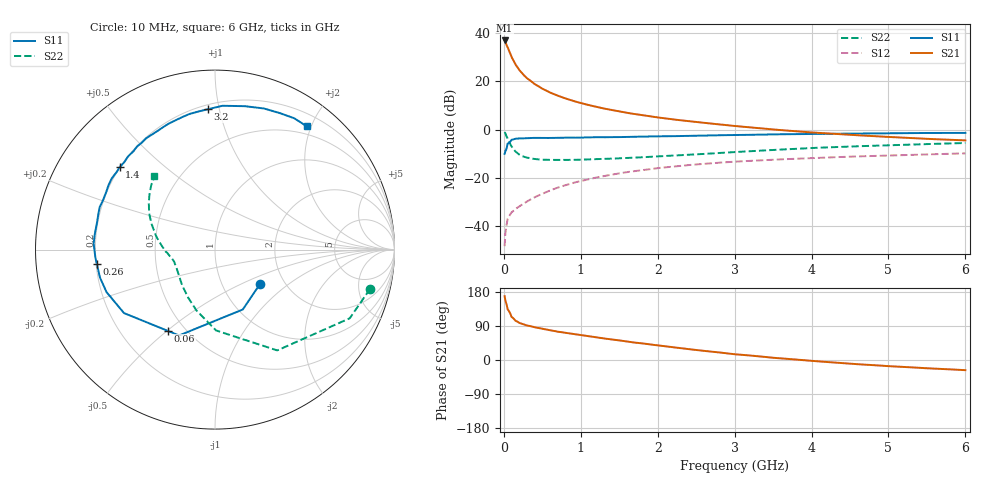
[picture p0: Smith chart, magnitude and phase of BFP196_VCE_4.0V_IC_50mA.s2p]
! Infineon Technologies  Discrete & RF Semiconductors
! BFP196
! VCE = 4.0 V,  IC =  50mA
! Common Emitter S-Parameters:  Jan 2016
# GHz  S  MA  R  50
!  f  S11  S21  S12  S22
! GHz  MAG  ANG  MAG  ANG  MAG  ANG  MAG  ANG
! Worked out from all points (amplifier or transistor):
!   210 points, 10 MHz to 6 GHz, reference 50 ohm
!   highest |S21| = 36.9 dB at 10 MHz (marker M1)
!   |S21| within 3 dB of that: start of sweep to 51.77 MHz
!   unconditionally stable (mu >= 1): 465.5 MHz to 4.425 GHz
!   at 185 MHz: K = 0.71, MSG = 28.8 dB, |S12| = -32.0 dB
!   at 1.52 GHz: K = 1.08, MAG = 10.9 dB, |S12| = -18.0 dB
!   at 6 GHz: K = 0.98, MSG = 2.7 dB, |S12| = -9.8 dB
!   S11 on the Smith chart (normalised r, x): 10 MHz: 1.51, -0.64; 60 MHz: 0.40, -0.50; 260 MHz: 0.20, -0.06; 1.4 GHz: 0.20, +0.36; 3.2 GHz: 0.23, +0.92; 6 GHz: 0.37, +1.93
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0.01  0.3155 -37.1  69.98 168.5  0.0039 79.6  0.8916 -14.2
0.02  0.3679 -65.1  65.34 157.2  0.0072 72.6  0.8426 -27.0
0.05  0.5185 -112.7  50.27 133.7  0.0144 56.4  0.6601 -58.3
0.06  0.5234 -120.0  46.24 131.0  0.0154 54.3  0.6072 -62.7
0.1  0.6182 -145.1  31.8 113.8  0.0195 48.1  0.4507 -89.2
0.145  0.6444 -157.3  23.31 105.3  0.0225 48.6  0.3625 -104.7
0.15  0.649 -158.6  22.41 104.0  0.0228 48.7  0.3548 -106.9
0.2  0.6595 -166.3  17.21 98.0  0.0259 51.1  0.3065 -119.2
0.26  0.6627 -172.9  13.39 93.5  0.0299 54.1  0.2759 -129.8
0.3  0.6678 -176.1  11.61 91.1  0.0327 56.6  0.2648 -134.9
0.4  0.6769 177.2  8.787 86.4  0.0399 59.0  0.2477 -144.6
0.5  0.6752 172.4  7.042 82.4  0.0472 60.9  0.2397 -150.9
0.6  0.6738 167.7  5.874 78.5  0.0552 61.9  0.2373 -155.4
0.7  0.6793 163.4  5.055 74.7  0.0633 62.6  0.2371 -158.7
1.02  0.6867 151.6  3.487 65.1  0.0884 60.5  0.2402 -165.7
1.4  0.7026 139.1  2.547 54.4  0.1173 56.4  0.2516 -171.2
2.02  0.7294 121.2  1.776 38.2  0.1615 47.8  0.2811 -179.9
3.1  0.7785 94.9  1.154 13.6  0.2224 32.0  0.3503 163.9
3.2  0.7831 92.9  1.116 11.9  0.2266 30.6  0.3576 162.3
4.1  0.8181 76.8  0.857 -3.8  0.2621 19.4  0.4243 149.9
5.1  0.8438 63.4  0.695 -17.2  0.2959 8.2  0.4816 139.0
6  0.8563 53.4  0.601 -26.8  0.3241 -1.7  0.5303 129.5
